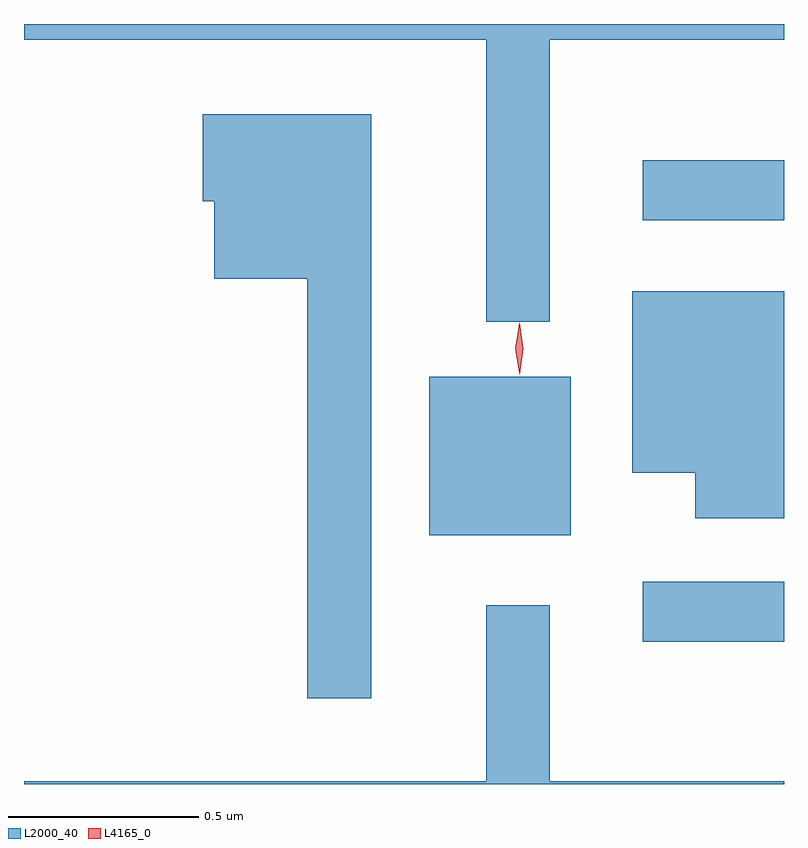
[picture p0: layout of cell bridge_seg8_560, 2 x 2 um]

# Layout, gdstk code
import gdstk
lib = gdstk.Library(unit=1e-6, precision=1e-09)
def R(c, l, rs):  # rectangles x0, y0, x1, y1
    for r in rs: c.add(gdstk.rectangle(r[:2], r[2:], *l))
def P(c, l, *ps):  # polygons
    for p in ps: c.add(gdstk.Polygon(p, *l))
L2000_40 = (2000, 40)
L4165_0 = (4165, 0)

bridge_seg8_560 = lib.new_cell('bridge_seg8_560')
R(bridge_seg8_560, L2000_40, [(556.453,1863.691,556.825,1863.849), (555.891,1863.971,556.264,1864.389), (556.453,1864.801,556.825,1864.959)])
P(bridge_seg8_560, L2000_40, [(556.209,1865.276),(556.825,1865.276),(556.825,1865.317),(554.825,1865.317),(554.825,1865.276),(556.041,1865.276),(556.041,1864.533),(556.209,1864.533)],
  [(555.739,1865.079),(555.296,1865.079),(555.296,1864.851),(555.326,1864.851),(555.326,1864.646),(555.571,1864.646),(555.571,1863.543),(555.739,1863.543)],
  [(556.825,1864.614),(556.426,1864.614),(556.426,1864.136),(556.591,1864.136),(556.591,1864.016),(556.825,1864.016)],
  [(556.825,1863.324),(556.209,1863.324),(556.209,1863.788),(556.041,1863.788),(556.041,1863.324),(554.825,1863.324),(554.825,1863.317),(556.825,1863.317)])
P(bridge_seg8_560, L4165_0, [(556.128,1864.398),(556.128,1864.399),(556.118,1864.463),(556.128,1864.527),(556.128,1864.527),(556.129,1864.527),(556.138,1864.463),(556.129,1864.399)],
  [(556.129,1864.394),(556.129,1864.394),(556.119,1864.462),(556.128,1864.53),(556.128,1864.53),(556.129,1864.53),(556.139,1864.462),(556.13,1864.394)])

lib.write_gds('bridge_seg8_560.gds')
